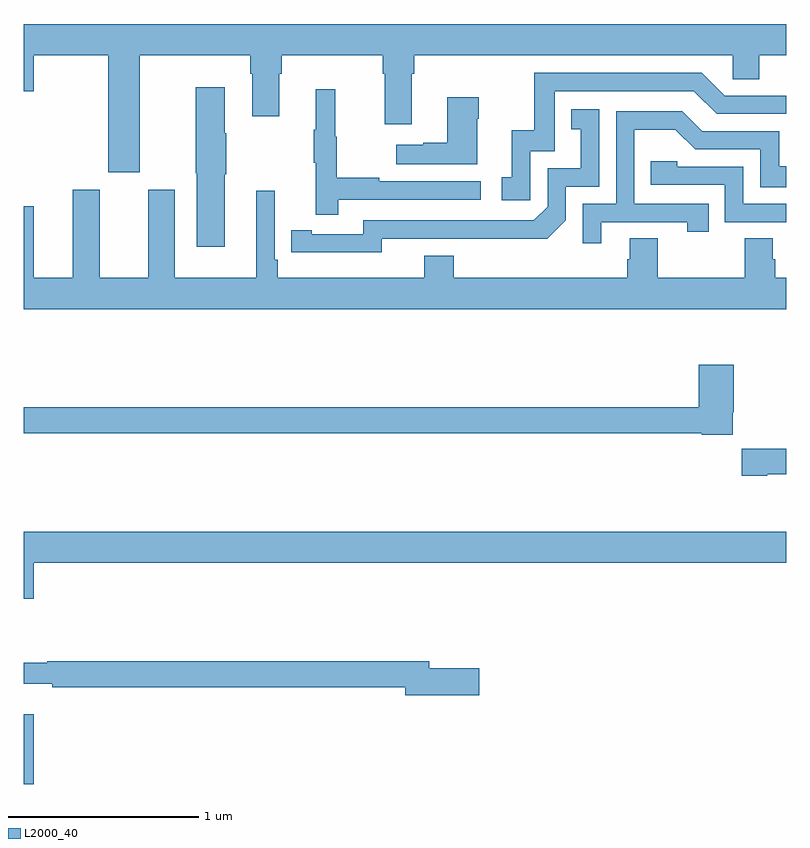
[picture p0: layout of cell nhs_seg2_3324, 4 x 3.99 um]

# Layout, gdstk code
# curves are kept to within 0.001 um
import gdstk
lib = gdstk.Library(unit=1e-6, precision=1e-09)
def R(c, l, rs):  # rectangles x0, y0, x1, y1
    for r in rs: c.add(gdstk.rectangle(r[:2], r[2:], *l))
def P(c, l, *ps):  # polygons
    for p in ps: c.add(gdstk.Polygon(p, *l))
L2000_40 = (2000, 40)

nhs_seg2_3324 = lib.new_cell('nhs_seg2_3324')
R(nhs_seg2_3324, L2000_40, [(285,655.8,285.052,656.167)])
P(nhs_seg2_3324, L2000_40, [(285.607,659.624),(286.187,659.624),(286.187,659.528),(286.199,659.528),(286.199,659.304),(286.339,659.304),(286.339,659.528),(286.352,659.528),(286.352,659.624),(286.883,659.624),(286.883,659.528),(286.895,659.528),(286.895,659.262),(287.035,659.262),(287.035,659.528),(287.048,659.528),(287.048,659.624),(288.72,659.624),(288.72,659.497),(288.859,659.497),(288.859,659.624),(289,659.624),(289,659.788),(285,659.788),(285,659.436),(285.052,659.436),(285.052,659.624),(285.443,659.624),(285.443,659.01),(285.607,659.01)],
  [(287.658,659.121),(287.787,659.121),(287.787,659.436),(288.516,659.436),(288.636,659.316),(289,659.316),(289,659.412),(288.678,659.412),(288.558,659.532),(287.679,659.532),(287.679,659.23),(287.561,659.23),(287.561,658.983),(287.508,658.983),(287.508,658.863),(287.658,658.863)],
  [(286.054,658.999),(286.062,658.999),(286.062,659.216),(286.054,659.216),(286.054,659.455),(285.901,659.455),(285.901,659.005),(285.908,659.005),(285.908,658.62),(286.054,658.62)],
  [(286.649,658.866),(287.398,658.866),(287.398,658.962),(286.865,658.962),(286.865,658.982),(286.642,658.982),(286.642,659.196),(286.634,659.196),(286.634,659.446),(286.532,659.446),(286.532,659.233),(286.521,659.233),(286.521,659.059),(286.532,659.059),(286.532,658.788),(286.649,658.788)],
  [(287.38,659.291),(287.388,659.291),(287.388,659.404),(287.222,659.404),(287.222,659.165),(287.096,659.165),(287.096,659.155),(286.953,659.155),(286.953,659.051),(287.38,659.051)],
  [(286.878,658.662),(287.746,658.661),(287.844,658.758),(287.844,658.935),(288.018,658.935),(288.018,659.341),(287.872,659.341),(287.872,659.235),(287.921,659.235),(287.921,659.031),(287.748,659.031),(287.748,658.83),(287.676,658.758),(286.782,658.758),(286.782,658.686),(286.51,658.686),(286.51,658.706),(286.402,658.706),(286.402,658.59),(286.878,658.589)],
  [(288.031,658.749),(288.482,658.749),(288.482,658.698),(288.593,658.698),(288.593,658.845),(288.204,658.845),(288.204,659.234),(288.418,659.234),(288.522,659.13),(288.864,659.13),(288.864,658.932),(289,658.932),(289,659.041),(288.963,659.041),(288.963,659.226),(288.559,659.226),(288.454,659.331),(288.108,659.331),(288.108,658.845),(287.934,658.845),(287.934,658.638),(288.031,658.638)],
  [(289,658.845),(288.774,658.845),(288.774,659.04),(288.429,659.04),(288.429,659.067),(288.289,659.067),(288.289,658.944),(288.678,658.944),(288.678,658.749),(289,658.749)],
  [(289,658.456),(288.944,658.456),(288.944,658.554),(288.931,658.554),(288.931,658.664),(288.784,658.664),(288.784,658.456),(288.327,658.456),(288.327,658.664),(288.179,658.664),(288.179,658.554),(288.167,658.554),(288.167,658.456),(287.255,658.456),(287.255,658.573),(287.102,658.573),(287.102,658.456),(286.331,658.456),(286.331,658.552),(286.317,658.552),(286.317,658.912),(286.22,658.912),(286.22,658.456),(285.793,658.456),(285.793,658.918),(285.653,658.918),(285.653,658.456),(285.397,658.456),(285.397,658.918),(285.257,658.918),(285.257,658.456),(285.052,658.456),(285.052,658.831),(285,658.831),(285,658.292),(289,658.292)],
  [(288.72,657.751),(288.725,657.751),(288.725,658),(288.542,658),(288.542,657.776),(285,657.776),(285,657.64),(288.558,657.64),(288.558,657.632),(288.72,657.632)],
  [(288.9,657.425),(289,657.425),(289,657.56),(288.768,657.56),(288.768,657.418),(288.9,657.418)],
  [(285.052,656.96),(289,656.96),(289,657.124),(285,657.124),(285,656.772),(285.052,656.772)],
  [(287.389,656.408),(287.128,656.408),(287.128,656.444),(285.124,656.444),(285.124,656.437),(285,656.437),(285,656.327),(285.148,656.327),(285.148,656.308),(287,656.308),(287,656.266),(287.389,656.266)])

lib.write_gds('nhs_seg2_3324.gds')
